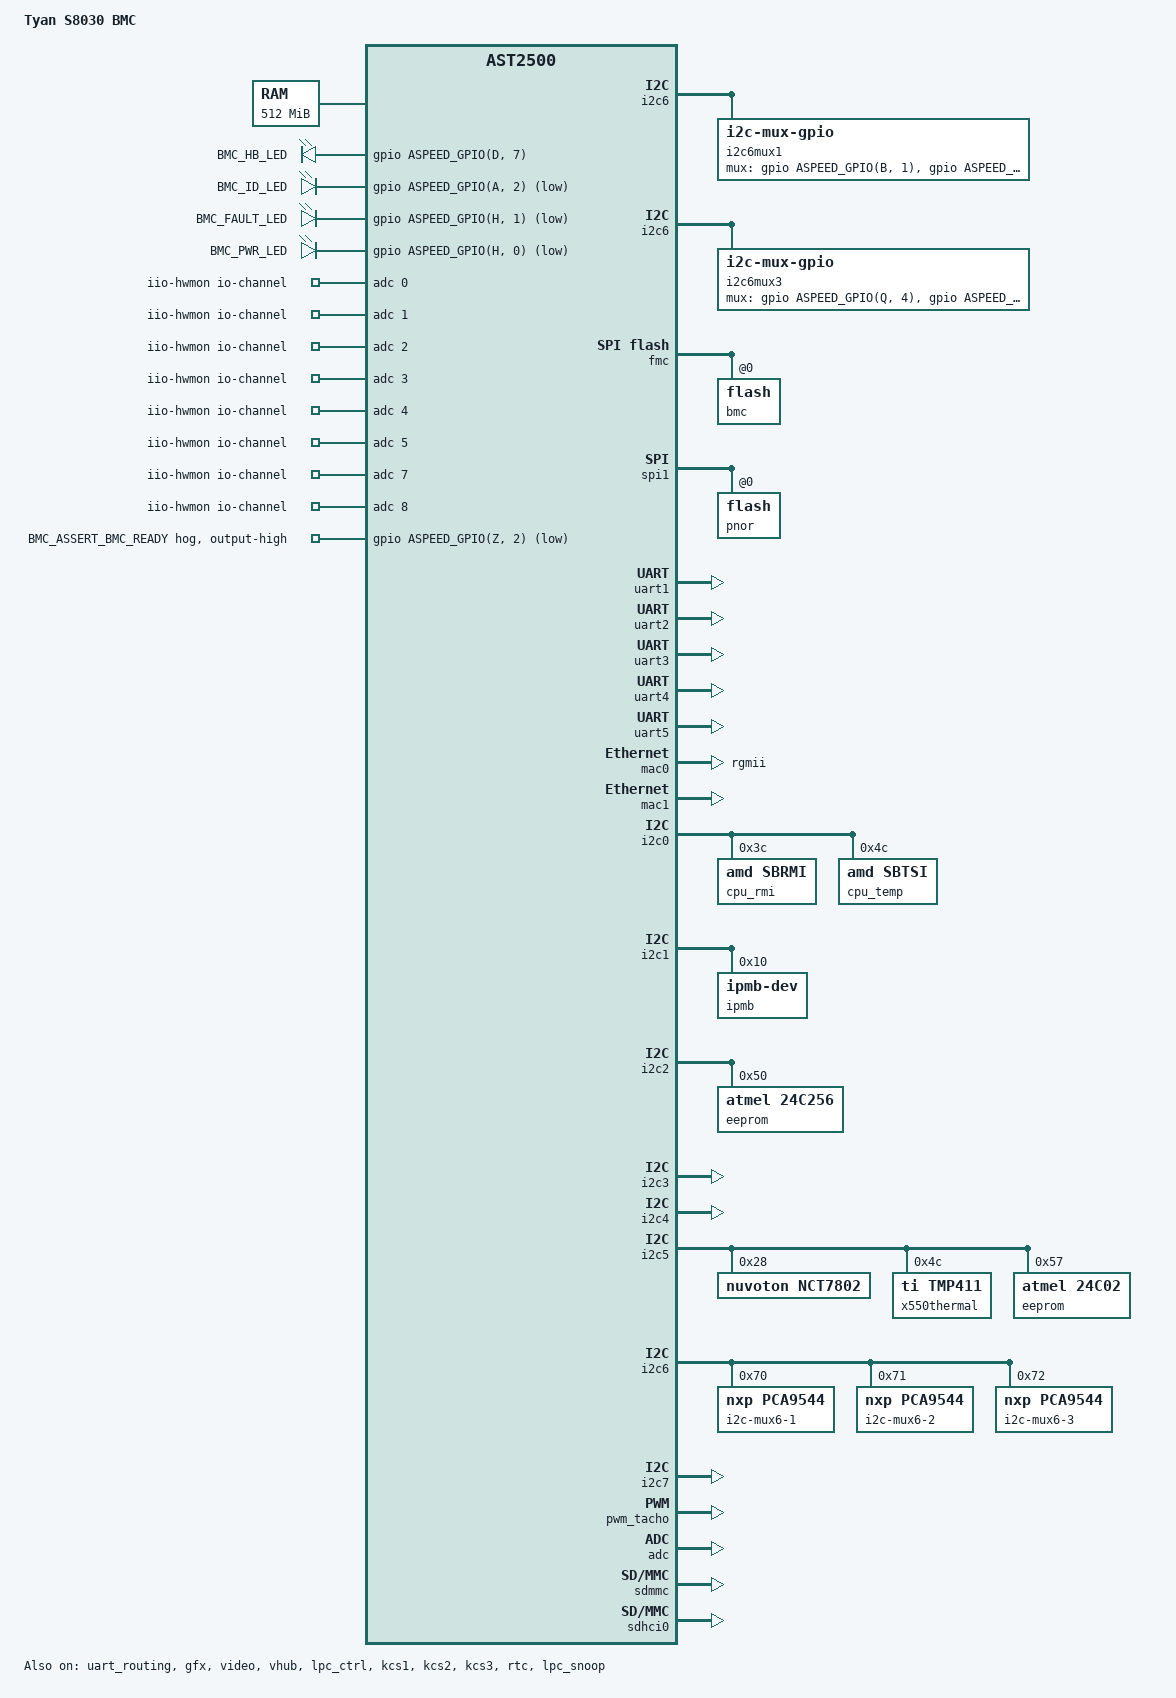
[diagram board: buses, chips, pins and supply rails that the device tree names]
// SPDX-License-Identifier: GPL-2.0+
/dts-v1/;

#include "aspeed-g5.dtsi"
#include <dt-bindings/gpio/aspeed-gpio.h>
#include <dt-bindings/i2c/i2c.h>

/ {
    model = "Tyan S8030 BMC";
    compatible = "tyan,s8030-bmc", "aspeed,ast2500";

    chosen {
        stdout-path = &uart5;
        bootargs = "console=ttyS4,115200 earlycon";
    };

    aliases {
        i2c14 = &i2c6mux1ch0;
        i2c18 = &i2c6mux2ch0;
        i2c19 = &i2c6mux2ch1;
        i2c21 = &i2c6mux2ch3;

        i2c31 = &channel_6_1_0;
        i2c32 = &channel_6_1_1;
        i2c33 = &channel_6_1_2;
        i2c34 = &channel_6_1_3;
        i2c35 = &channel_6_2_0;
        i2c36 = &channel_6_2_1;
        i2c37 = &channel_6_2_2;
        i2c38 = &channel_6_2_3;
        i2c39 = &channel_6_3_0;
        i2c40 = &channel_6_3_1;
        i2c41 = &channel_6_3_2;
        i2c42 = &channel_6_3_3;
    };

    memory@80000000 {
        reg = <0x80000000 0x20000000>;
    };

    reserved-memory {
        #address-cells = <1>;
        #size-cells = <1>;
        ranges;

        flash_memory: region@98000000 {
            no-map;
            reg = <0x98000000 0x04000000>; /* 64M */
        };

        vga_memory: framebuffer@9f000000 {
            no-map;
            reg = <0x9f000000 0x04000000>; /* 64M */
        };

        gfx_memory: framebuffer {
            size = <0x04000000>; /* 64M */
            alignment = <0x01000000>;
            compatible = "shared-dma-pool";
            reusable;
        };
    };

    leds {
        compatible = "gpio-leds";

        BMC_HB_LED {
            gpios = <&gpio ASPEED_GPIO(D, 7) GPIO_ACTIVE_HIGH>;
            linux,default-trigger = "heartbeat";
        };

        BMC_ID_LED {
            gpios = <&gpio ASPEED_GPIO(A, 2) GPIO_ACTIVE_LOW>;
            default-state = "off";
        };

        BMC_FAULT_LED {
            gpios = <&gpio ASPEED_GPIO(H, 1) GPIO_ACTIVE_LOW>;
            default-state = "off";
        };

        BMC_PWR_LED {
            gpios = <&gpio ASPEED_GPIO(H, 0) GPIO_ACTIVE_LOW>;
            default-state = "on";
        };
    };

    i2c6mux1 { // U52, Pericom PI5C3253, U104, Pericom PI5C3253
        compatible = "i2c-mux-gpio";
        #address-cells = <1>;
        #size-cells = <0>;
        status = "okay";
        i2c-parent = <&i2c6>;
        idle-state = <0xc>; // 0b1100
        mux-gpios = <&gpio ASPEED_GPIO(B, 1) GPIO_ACTIVE_HIGH>, // channel select
                    <&gpio ASPEED_GPIO(B, 2) GPIO_ACTIVE_HIGH>, // channel select
                    <&gpio ASPEED_GPIO(B, 0) GPIO_ACTIVE_HIGH>, // enable, set low to enable (U52)
                    <&gpio ASPEED_GPIO(Q, 6) GPIO_ACTIVE_HIGH>; // enable, set low to enable (U104)

        //when configuring U52, U104 as separate muxes sharing 2 gpios,
        //driver fails to probe. Thus they now pretend to be 1 mux.

        //U52  ch0, 0b1000 -> 0x8
        //U52  ch1, 0b1001 -> 0x9
        //U52  ch2, 0b1010 -> 0xa
        //U52  ch3, 0b1011 -> 0xb

        //U104 ch0, 0b0100 -> 0x4
        //U104 ch1, 0b0101 -> 0x5
        //U104 ch2, 0b0110 -> 0x6
        //U104 ch3, 0b0111 -> 0x7

        i2c6mux1ch0: i2c@4 {
            #address-cells = <1>;
            #size-cells = <0>;
            reg = <4>;
        };
        i2c6mux1ch1: i2c@5 {
            #address-cells = <1>;
            #size-cells = <0>;
            reg = <5>;
        };
        i2c6mux1ch2: i2c@6 {
            #address-cells = <1>;
            #size-cells = <0>;
            reg = <6>;
        };
        i2c6mux1ch3: i2c@7 {
            #address-cells = <1>;
            #size-cells = <0>;
            reg = <7>;
        };

        i2c6mux2ch0: i2c@0x8 {
            #address-cells = <1>;
            #size-cells = <0>;
            reg = <0x8>;
        };
        i2c6mux2ch1: i2c@0x9 {
            #address-cells = <1>;
            #size-cells = <0>;
            reg = <0x9>;
        };
        i2c6mux2ch2: i2c@0xa {
            #address-cells = <1>;
            #size-cells = <0>;
            reg = <0xa>;
        };
        i2c6mux2ch3: i2c@0xb {
            #address-cells = <1>;
            #size-cells = <0>;
            reg = <0xb>;
        };
    };

    i2c6mux3 { // U55, Pericom PI5C3253
        compatible = "i2c-mux-gpio";
        #address-cells = <1>;
        #size-cells = <0>;
        status = "okay";
        i2c-parent = <&i2c6>;
        idle-state = <0x4>;
        mux-gpios = <&gpio ASPEED_GPIO(Q, 4) GPIO_ACTIVE_HIGH>, // channel select
                    <&gpio ASPEED_GPIO(Q, 5) GPIO_ACTIVE_HIGH>, // channel select
                    <&gpio ASPEED_GPIO(A, 3) GPIO_ACTIVE_HIGH>;  // enable, set low to enable
        i2c6mux3ch0: i2c@0 {
            #address-cells = <1>;
            #size-cells = <0>;
            reg = <0>;
        };
        i2c6mux3ch1: i2c@1 {
            #address-cells = <1>;
            #size-cells = <0>;
            reg = <1>;
        };
        i2c6mux3ch2: i2c@2 {
            #address-cells = <1>;
            #size-cells = <0>;
            reg = <2>;
        };
        i2c6mux3ch3: i2c@3 {
            #address-cells = <1>;
            #size-cells = <0>;
            reg = <3>;
        };
    };

    iio-hwmon {
        compatible = "iio-hwmon";

        io-channels =
            <&adc 0>, /* BMC_ADC_5_DUAL */
            <&adc 1>, /* BMC_ADC_33_DUAL */
            <&adc 2>, /* BMC_ADC_12_RUN */
            <&adc 3>, /* BMC_ADC_5_RUN */
            <&adc 4>, /* BMC_ADC_33_RUN */
            <&adc 5>, /* BMC_P0_ADC_18_RUN */
            /* ADC 6     connected to GND */
            <&adc 7>, /* BMC_ADC_P0_VDD_CORE_RUN */
            <&adc 8>, /* BMC_ADC_P0_VDD_SOC_RUN */
            <&adc 9>, /* BMC_ADC_P0_VDD_MEM_ABCD_RUN */
            <&adc 10>, /* BMC_ADC_P0_VDD_MEM_EFGH_RUN */
            /* ADC 11 ... 14 connected to GND */
            <&adc 15>; /* BMC_ADC_VBAT_33 */
    };
};

&fmc {
    /* BMC SPI */
    status = "okay";

    flash@0 {
        label = "bmc";
        status = "okay";
        m25p,fast-read;
#include "openbmc-flash-layout-64.dtsi"
    };
};

&spi1 {
    status = "okay";
    pinctrl-names = "default";
    pinctrl-0 = <&pinctrl_spi1_default>;

    flash@0 {
        label = "pnor";
        status = "okay";
        m25p,fast-read;
    };
};

&uart1 {
    /* Rear RS-232 connector */
    status = "okay";
    pinctrl-names = "default";
    pinctrl-0 = <&pinctrl_txd1_default
            &pinctrl_rxd1_default
            &pinctrl_ncts1_default
            &pinctrl_ndcd1_default
            &pinctrl_ndsr1_default
            &pinctrl_nri1_default
            &pinctrl_ndtr1_default
            &pinctrl_nrts1_default>;
};

&uart2 {
    status = "okay";
};

&uart3 {
    status = "okay";
};

&uart4 {
    status = "okay";
};

&uart5 {
    /* BMC "debug" (console) UART Header */
    status = "okay";
};

&uart_routing {
    status = "okay";
};

&mac0 {
    status = "okay";

    reg = <0x1e680000 0x180>;
    interrupts = <3>;
    clocks = <&syscon ASPEED_CLK_GATE_MAC2CLK>;

    pinctrl-names = "default";
    pinctrl-0 = <&pinctrl_rgmii2_default &pinctrl_mdio2_default>;

    phy-mode = "rgmii";
};

&mac1 {
    status = "okay";

    reg = <0x1e660000 0x180>;
    interrupts = <2>;
    clocks = <&syscon ASPEED_CLK_GATE_MAC1CLK>,
             <&syscon ASPEED_CLK_MAC1RCLK>;
    clock-names = "MACCLK", "RCLK";

    pinctrl-names = "default";
    pinctrl-0 = <&pinctrl_rmii1_default>;

    use-ncsi;
};

&i2c0 {
    status = "okay";

    cpu_rmi: cpu@3c {
        compatible = "amd,sbrmi";
        reg = <0x3c>;
    };

    cpu_temp: cpu@4c {
        compatible = "amd,sbtsi", "apml,sb-tsi";
        reg = <0x4c>;
    };
};

&i2c1 {
    status = "okay";
    multi-master =<1>;

    ipmb@10 {
        compatible = "ipmb-dev";
        reg = <0x10>;
        i2c-protocol;
    };
};

&i2c2 {
    status = "okay";
    /* FRU 24C256 @50h */
    eeprom@50 {
        compatible = "atmel,24c256";
        reg = <0x50>;
        pagesize = <32>;
    };
};

&i2c3 {
    status = "okay";
};

&i2c4 {
    status = "okay";
};

&i2c5 {
    status = "okay";
    /* NCT7802 Hardware Monitor */
    nct7802@28 {
        compatible = "nuvoton,nct7802";
        reg = <0x28>;

        #address-cells = <1>;
        #size-cells = <0>;

        channel@0 { /* LTD */
            reg = <0>;
            status = "okay";
        };
        channel@1 { /* RTD1, SYS_AIR_INLET */
            reg = <1>;
            status = "okay";
            sensor-type = "temperature";
            temperature-mode = "thermistor";
        };
        channel@2 { /* RTD2, MB_AIR_INLET */
            reg = <2>;
            status = "okay";
            sensor-type = "temperature";
            temperature-mode = "thermistor";
        };
        channel@3 { /* RTD3, MB_AIR_OUTLET */
            reg = <3>;
            status = "okay";
            sensor-type = "temperature";
            temperature-mode = "thermistor";
        };
    };

    x550thermal: tmp411@4c{
        compatible = "ti,tmp411";
        reg = <0x4c>;
    };

    eeprom@57 {
        compatible = "atmel, 24c02";
        reg = <0x57>;
        pagesize = <8>;
    };
};

&i2c6 {
    status = "okay";

    i2c-mux6-1@0x70 { // only present on ocga variant
        compatible = "nxp,pca9544";
        reg = <0x70>;
        #address-cells = <1>;
        #size-cells = <0>;
        i2c-mux-idle-disconnect;
        channel_6_1_0: i2c@0x0 {
            #address-cells = <1>;
            #size-cells = <0>;
            reg = <0x0>;
        };
        channel_6_1_1: i2c@0x1 {
            #address-cells = <1>;
            #size-cells = <0>;
            reg = <0x1>;
        };
        channel_6_1_2: i2c@0x2 {
            #address-cells = <1>;
            #size-cells = <0>;
            reg = <0x2>;
        };
        channel_6_1_3: i2c@0x3 {
            #address-cells = <1>;
            #size-cells = <0>;
            reg = <0x3>;
        };
    };
    i2c-mux6-2@0x71 { // only present on some variants
        compatible = "nxp,pca9544";
        reg = <0x71>;
        #address-cells = <1>;
        #size-cells = <0>;
        i2c-mux-idle-disconnect;
        channel_6_2_0: i2c@0x0 {
            #address-cells = <1>;
            #size-cells = <0>;
            reg = <0x0>;
        };
        channel_6_2_1: i2c@0x1 {
            #address-cells = <1>;
            #size-cells = <0>;
            reg = <0x1>;
        };
        channel_6_2_2: i2c@0x2 {
            #address-cells = <1>;
            #size-cells = <0>;
            reg = <0x2>;
        };
        channel_6_2_3: i2c@0x3 {
            #address-cells = <1>;
            #size-cells = <0>;
            reg = <0x3>;
        };
    };
    i2c-mux6-3@0x72 { // only present on some variants
        compatible = "nxp,pca9544";
        reg = <0x72>;
        #address-cells = <1>;
        #size-cells = <0>;
        i2c-mux-idle-disconnect;
        channel_6_3_0: i2c@0x0 {
            #address-cells = <1>;
            #size-cells = <0>;
            reg = <0x0>;
        };
        channel_6_3_1: i2c@0x1 {
            #address-cells = <1>;
            #size-cells = <0>;
            reg = <0x1>;
        };
        channel_6_3_2: i2c@0x2 {
            #address-cells = <1>;
            #size-cells = <0>;
            reg = <0x2>;
        };
        channel_6_3_3: i2c@0x3 {
            #address-cells = <1>;
            #size-cells = <0>;
            reg = <0x3>;
        };
    };
};

&i2c7 {
    status = "okay";
    multi-master;
};

&gfx {
    status = "okay";
    memory-region = <&gfx_memory>;
};

&video {
    status = "okay";
    memory-region = <&vga_memory>;
};

&vhub {
    status = "okay";
};

&pwm_tacho {
    status = "okay";
    pinctrl-names = "default";
    pinctrl-0 = <&pinctrl_pwm0_default
            &pinctrl_pwm2_default
            &pinctrl_pwm3_default
            &pinctrl_pwm4_default
            &pinctrl_pwm5_default>;

    cpufan@0 {
        reg = <0x00>;
        aspeed,fan-tach-ch = /bits/ 8 <0x00>;
    };

    fan@0 {
        reg = <0x02>;
        aspeed,fan-tach-ch = /bits/ 8 <0x02>;
    };

    fan@1 {
        reg = <0x03>;
        aspeed,fan-tach-ch = /bits/ 8 <0x03>;
    };

    fan@2 {
        reg = <0x04>;
        aspeed,fan-tach-ch = /bits/ 8 <0x04>;
    };

    fan@3 {
        reg = <0x05>;
        aspeed,fan-tach-ch = /bits/ 8 <0x05>;
    };
};

&lpc_ctrl {
    status = "okay";
    memory-region = <&flash_memory>;
};

&adc {
    status = "okay";
};

&kcs1 {
    status = "okay";
    aspeed,lpc-io-reg = <0xca0>;
};

&kcs2 {
    status = "okay";
    aspeed,lpc-io-reg = <0xca8>;
};

&kcs3 {
    status = "okay";
    aspeed,lpc-io-reg = <0xca2>;
};

&rtc {
    status = "okay";
};

&gpio {
    status = "okay";
    gpio-line-names =
    /*A0*/   "BMC_GPIOA0_MAC1LINK", // [IN] MAC1 PHY link status input
    /*A1*/   "BMC_RGMII_INT_L",     // [IN]
    /*A2*/   "BMC_IDLED_ON_L",      // [IN/OUT]
    /*A3*/   "BMC_PE2_SMB_EN_N",    // [OUT]
    /*A4, A5, A6, A7*/   "","","","",

    /*B0*/   "BMC_PE0_SMB_EN_N",   // [OUT]
    /*B1*/   "BMC_PE_SMB_SW_BIT0", // [OUT]
    /*B2*/   "BMC_PE_SMB_SW_BIT1", // [OUT]
    /*B3*/   "BMC_DIMM_SMB_SW_EN", // [OUT]
    /*B4*/   "BMC_GPIOB4",         // [IN]
    /*B5*/   "P0_LPC_PD_L",        // [IN]
    /*B6*/   "P0_LPC_PME_L",       // [IN/OUT]
    /*B7*/   "BMC_ALERT3_L",       // [IN]

    //      SD CARD READING / WRITING
    /*C0*/   "BMC_SD1CLK",         // [OUT]
    /*C1*/   "BMC_SD1CMD",         // [IN/OUT]
    /*C2*/   "BMC_SD1DAT0",        // [IN/OUT]
    /*C3*/   "BMC_SD1DAT1",        // [IN/OUT]
    /*C4*/   "BMC_SD1DAT2",        // [IN/OUT]
    /*C5*/   "BMC_SD1DAT3",        // [IN/OUT]
    /*C6*/   "BMC_SD1DET",         // [IN]
    /*C7*/   "BMC_SD1WPT",

    /*D0*/   "P0_SLP_S3_L",            // [IN]
    /*D1*/   "P0_SLP_S5_L",            // [IN]
    /*D2*/   "BMC_PS_ON",              // [IN]
    /*D3*/   "BMC_SYS_MON_PWROK",      // [IN]
    /*D4*/   "BMC_SYS_MON_PWRGOOD",    // [IN]
    /*D5*/   "",                       // [IN]
    /*D6*/   "CHASSIS_INTRUSION",      // [IN] BMC_INTRUDER_HDE_L
    /*D7*/   "BMC_SW_HEARTBEAT_LED_L", // [OUT]

    /*E0*/   "PWR_BTN",          // [IN]
    /*E1*/   "PWR_CHASSIS_CTRL", // [OUT]
    /*E2*/   "RESET_BTN",        // [IN]
    /*E3*/   "RESET_CTRL",       // [OUT]
    /*E4*/   "NMI_BTN",          // [IN]
    /*E5*/   "NMI_CTRL",         // [OUT]
    /*E6*/   "P0_APML_SEL",      // [IN/OUT]
    /*E7*/   "",

    /*F0*/   "BMC_CPU_PIROM_SMB_WP",  // [OUT]
    /*F1*/   "BMC_ASSERT_CLR_CMOS_L", // [OUT]
    /*F2*/   "BMC_ASSERT_BTN_LOCK_L", // [OUT]
    /*F3*/   "BMC_ASSERT_PME_L",      // [OUT]
    /*F4*/   "BMC_ASSERT_P0_PROCHOT", // [OUT]
    /*F5*/   "BMC_IDLED_BTN_L",       // [OUT]
    /*F6*/   "",
    /*F7*/   "",

    /*G0*/   "BMC_SPI_SEL",      // [IN/OUT]
    /*G1*/   "BMC_SPI_SW_EN_L",  // [IN/OUT]
    /*G2*/   "BMC_BAT_PRESENT",  // [OUT]
    /*G3*/   "",
    /*G4*/   "SKU_ID0",          // [IN/OUT]
    /*G5*/   "SKU_ID1",          // [IN/OUT]
    /*G6*/   "SKU_ID2",          // [IN/OUT]
    /*G7*/   "",

    /*H0*/   "FP_LED_STATUS_GREEN_BMC_L",  // [OUT]
    /*H1*/   "FP_LED_STATUS_AMBER_BMC_L",  // [OUT]
    /*H2*/   "BMC_RTC_TEST_EN",            // [OUT]
    /*H3*/   "",
    /*H4*/   "BMC_SYS_MON_P0_PROCHOT",     // [IN]
    /*H5*/   "BMC_SYS_MON_P1_PROCHOT_L",
    /*H6*/   "BMC_SYS_MON_P0_THERMTRIP_L", // [IN]
    /*H7*/   "BMC_SYS_MON_P1_THERMTRIP_L",

    //     System SPI Block
    /*I0*/   "P0_SPI_33_CS1_L", // [IN]
    /*I1*/   "P0_SPI_33_CLK",   // [IN]
    /*I2*/   "P0_SPI_33_DO",    // [IN]
    /*I3*/   "P0_SPI_33_DI",    // [OUT]
    /*I4*/   "BMC_SPI1CS0_L",   // [OUT]
    /*I5*/   "BMC_SPI1CK",      // [OUT]
    /*I6*/   "BMC_SPI1MOSI",    // [OUT]
    /*I7*/   "BMC_SPI1MISO",    // [IN]

    /*J0*/   "CPU_SMB_VR_ALERT",       // [IN]
    /*J1*/   "PSMI_IRQ_PMBUS_ALERT_L", // [IN]
    /*J2*/   "SOC_PSMI_PMBUS_ALERT_L", // [OUT]
    /*J3*/   "P0_ALERT_R_L",           // [IN]
    /*J4*/   "",                       // [IN/OUT]
    /*J5*/   "",                       // [IN/OUT]
    /*J6*/   "",                       // [IN/OUT]
    /*J7*/   "",                       // [IN/OUT]

    // in the i2c block
    /*K0*/   "BMC_SCL5",  // [OUT]
    /*K1*/   "BMC_SDA5",  // [IN/OUT]
    /*K2*/   "BMC_SCL6",  // [OUT]
    /*K3*/   "BMC_SDA6",  // [IN/OUT]
    /*K4*/   "BMC_SCL7",  // [OUT]
    /*K5*/   "BMC_SDA7",  // [IN/OUT]
    /*K6*/   "BMC_SCL8",  // [OUT]
    /*K7*/   "BMC_SDA8",  // [IN/OUT]

    // in BMC/System UART block
    /*L0*/   "BMC_CTS1",  // [IN]
    /*L1*/   "BMC_DCD1",  // [IN]
    /*L2*/   "BMC_DSR1",  // [IN]
    /*L3*/   "BMC_NRI1",  // [IN]
    /*L4*/   "BMC_DTR1",  // [IN]
    /*L5*/   "BMC_RTS1",  // [IN]
    /*L6*/   "BMC_TXD1",  // [IN]
    /*L7*/   "BMC_RXD1",  // [IN]

    /*M0*/   "P1_VDD_CORE_RUN_VRHOT_L",     // [IN/OUT]
    /*M1*/   "P1_VDD_SOC_RUN_VRHOT_L",      // [IN/OUT]
    /*M2*/   "P1_VDD_MEM_ABCD_RUN_VRHOT_L", // [IN/OUT]
    /*M3*/   "P1_VDD_MEM_EFGH_RUN_VRHOT_L", // [IN/OUT]
    /*M4*/   "BMC_AC_LOSS_L",               // [IN]
    /*M5*/   "BMC_NMI_SYNC_FLOOD_L",        // [OUT]
    /*M6*/   "P0_VDD_CORE_RUN_VRHOT_L",     // [IN]
    /*M7*/   "P0_VDD_SOC_RUN_VRHOT_L",      // [IN]

    /*N0*/   "BMC_PWM_FAN0", // [OUT]
    /*N1*/   "BMC_PWM_FAN1", // [OUT]
    /*N2*/   "BMC_PWM_FAN2", // [OUT]
    /*N3*/   "BMC_PWM_FAN3", // [OUT]
    /*N4*/   "BMC_PWM_FAN4", // [OUT]
    /*N5*/   "BMC_PWM_FAN5", // [OUT]
    /*N6*/   "BMC_PWM_FAN6", // [OUT]
    /*N7*/   "BMC_SPEAKER",  // [IN]

    /*O0*/   "BMC_TACH_SYS_FAN0", // [IN]
    /*O1*/   "BMC_TACH_SYS_FAN1", // [IN]
    /*O2*/   "BMC_TACH_SYS_FAN2", // [IN]
    /*O3*/   "BMC_TACH_SYS_FAN3", // [IN]
    /*O4*/   "BMC_TACH_SYS_FAN4", // [IN]
    /*O5*/   "BMC_TACH_SYS_FAN5", // [IN]
    /*O6*/   "BMC_TACH_SYS_FAN6", // [IN]
    /*O7*/   "BMC_TACH_SYS_FAN7", // [IN]

    /*P0*/   "BMC_TACH_SYS_FAN8",  // [IN]
    /*P1*/   "BMC_TACH_SYS_FAN9",  // [IN]
    /*P2*/   "BMC_TACH_SYS_FAN10", // [IN]
    /*P3*/   "BMC_TACH_SYS_FAN11", // [IN]
    /*P4*/   "BMC_TACH_SYS_FAN12", // [IN]
    /*P5*/   "BMC_TACH_SYS_FAN13", // [IN]
    /*P6*/   "BMC_TACH_SYS_FAN14", // [IN]
    /*P7*/   "BMC_TACH_SYS_FAN15", // [IN]

    /*Q0*/   "BMC_SCL3",             // [OUT]
    /*Q1*/   "BMC_SDA3",             // [IN/OUT]
    /*Q2*/   "BMC_SCL4",             // [OUT]
    /*Q3*/   "BMC_SDA4",             // [IN/OUT]
    /*Q4*/   "BMC_NVME_SMB_SW_BIT0", // [OUT]
    /*Q5*/   "BMC_NVME_SMB_SW_BIT1", // [OUT]
    /*Q6*/   "BMC_PE1_SMB_EN_N",     // [OUT]
    /*Q7*/   "BMC_PE_WAKE_N",        // [OUT]

    /*R0*/   "BMC_FPGA_JTAG_MUX_S",  // [OUT]
    /*R1*/   "BMC_FPGA_JTAG_MUX_OE", // [OUT]

    // SPI Block
    /*R2*/   "FM_BIOS_POST_CMPLT", // [IN]
    /*R3*/   "BMC_JTAG_DBREQ_L",   // [OUT]
    /*R4*/   "BMC_HDT_JTAG_SEL",   // [OUT]
    /*R5*/   "",                   // Unused
    /*R6*/   "",                   // Unused
    /*R7*/   "",                   // Unused

    /*S0*/   "P0_CPU_PRESENT_L",        // [IN]
    /*S1*/   "",                        // Unused
    /*S2*/   "",                        // Unused
    /*S3*/   "BMC_ASSERT_WARM_RST_BTN", // [OUT]
    /*S4*/   "",                        // [IN] TODO
    /*S5*/   "",                        // [IN] Reserved
    /*S6*/   "ENABLE_DEDICATED_VBIOS",  // [IN]
    /*S7*/   "VGA_CLASS_CODE_SELECT",   // [IN]

    /*T0*/   "", // Unused
    /*T1*/   "X550_NCSI_TX_EN", // [OUT]
    /*T2*/   "X550_NCSI_TXD0",  // [OUT]
    /*T3*/   "X550_NCSI_TXD1",  // [OUT]
    /*T4*/   "BMC_NCSI_TXD2",   // [OUT]
    /*T5*/   "BMC_NCSI_TXD3",   // [OUT]

    // these go to an RTL8211E
    /*T6*/   "BMC_RGMII_TXCLK", // [OUT]
    /*T7*/   "BMC_RGMII_TXCTL", // [OUT]

    /*U0*/   "BMC_RGMII_TXD0",     // [OUT]
    /*U1*/   "BMC_RGMII_TXD1",     // [OUT]
    /*U2*/   "BMC_RGMII_TXD2",     // [OUT]
    /*U3*/   "BMC_RGMII_TXD3",     // [OUT]
    /*U4*/   "BMC_NCSI_CLK",       // [IN/OUT]
    /*U5*/   "",                   // GND
    /*U6*/   "RMII_BMC_NIC0_RXD0", // [OUT]
    /*U7*/   "RMII_BMC_NIC0_RXD1", // [OUT]

    /*V0*/   "RMII_BMC_NIC0_CRS_DV", // [OUT]
    /*V1*/   "RMII_NIC0_ARB_OUT",    // [IN]

    /*V2*/   "BMC_RGMII_RXCLK", // [IN]
    /*V3*/   "BMC_RGMII_RXCTL", // [IN]
    /*V4*/   "BMC_RGMII_RXD0",  // [IN]
    /*V5*/   "BMC_RGMII_RXD1",  // [IN]
    /*V6*/   "BMC_RGMII_RXD2",  // [IN]
    /*V7*/   "BMC_RGMII_RXD3",  // [IN]

    /*W0-W7*/   "","","","","","","","", // not present

    /*X0-X7*/   "","","","","","","","", // not present

    /*Y0*/   "",         // reserved
    /*Y1*/   "",         // reserved
    /*Y2*/   "",         // reserved
    /*Y3*/   "",         // reserved
    /*Y4*/   "BMC_SCL1", // [OUT]
    /*Y5*/   "BMC_SDA1", // [IN/OUT]
    /*Y6*/   "BMC_SCL2", // [OUT]
    /*Y7*/   "BMC_SDA2", // [IN/OUT]

    /*Z0*/   "BIOS_ROM_RST_L",                      // [OUT]
    /*Z1*/   "BMC_ASSERT_BIOS_WP_L",                // [OUT]
    /*Z2*/   "BMC_ASSERT_BMC_READY",                // [OUT]
    /*Z3*/   "",                                    // reserved
    /*Z4*/   "EN_BMC_2ND_BOOT_WATCHDOG",            // [IN]
    /*Z5*/   "SELECT_USBCKI_INPUT_FREQUENCY",       // [IN]
    /*Z6*/   "DISABLE_LPC_DECODE_SUPER_IO_SPECIAL", // [IN]
    /*Z7*/   "EN_FAST_RESET_ARM_ICE_DEBUGGER",      // [IN]

    /*AA0*/  "BMC_LAN_SMBALRT_N",           // [IN]
    /*AA1*/  "BMC_GPIO_TDI",                // [OUT]
    /*AA2*/  "BMC_GPIO_TDO",                // [IN]
    /*AA3*/  "BMC_GPIO_TCK",                // [OUT]
    /*AA4*/  "BMC_GPIO_TMS",                // [OUT]
    /*AA5*/  "PSMI_PMBUS_ALERT_L",          // [IN]
    /*AA6*/  "P0_VDD_MEM_ABCD_RUN_VRHOT_L", // [IN]
    /*AA7*/  "P0_VDD_MEM_EFGH_RUN_VRHOT_L", // [IN]

    /*AB0*/  "BMC_SPD_SEL",    // [OUT]
    /*AB1*/  "P0_BMC_SMB6_EN", // [OUT]
    /*AB2*/  "BMC_WDT_RST1_P", // [IN/OUT]
    /*AB3*/  "BMC_WDT_RST2_P", // [OUT]
    /*AB4*/  "",               // not found
    /*AB5*/  "",               // not found
    /*AB6*/  "",               // not found
    /*AB7*/  "",               // not found

    // LPC / ESPI
    /*AC0*/  "P0_LAD0",      // [OUT]
    /*AC1*/  "P0_LAD1",      // [IN/OUT]
    /*AC2*/  "P0_LAD2",      // [OUT]
    /*AC3*/  "P0_LAD3",      // [IN/OUT]
    /*AC4*/  "P0_LPCCLK0",   // [IN]
    /*AC5*/  "P0_LFRAME_L",  // [IN]
    /*AC6*/  "P0_SERIRQ",    // [IN/OUT]
    /*AC7*/  "P0_LPC_RST_L"; // [IN]

    bmc_ready_hog {
        gpio-hog;
        gpios = <ASPEED_GPIO(Z, 2) GPIO_ACTIVE_LOW>;
        output-high;
        line-name = "BMC_ASSERT_BMC_READY";
    };
};

&sdmmc {
    status = "okay";
};

&sdhci0 {
    status = "okay";
    pinctrl-names = "default";
    pinctrl-0 = <&pinctrl_sd1_default>;
};

&lpc_snoop {
    status = "okay";
    snoop-ports = <0x80>;
};
